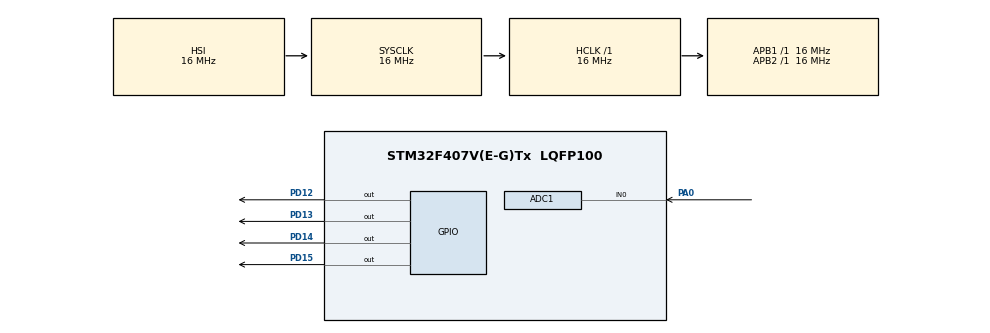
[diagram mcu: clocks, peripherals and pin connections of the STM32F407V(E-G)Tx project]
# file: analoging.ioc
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ADC1.Channel-1\#ChannelRegularConversion=ADC_CHANNEL_0
ADC1.NbrOfConversionFlag=1
ADC1.Rank-1\#ChannelRegularConversion=1
ADC1.SamplingTime-1\#ChannelRegularConversion=ADC_SAMPLETIME_3CYCLES
ADC1.master=1
Mcu.Family=STM32F4
Mcu.Name=STM32F407V(E-G)Tx
Mcu.Package=LQFP100
NVIC.PriorityGroup=NVIC_PRIORITYGROUP_4
PA0-WKUP.Signal=ADCx_IN0
PD12.Signal=GPIO_Output
PD13.Signal=GPIO_Output
PD14.Signal=GPIO_Output
PD15.Signal=GPIO_Output
ProjectManager.HeapSize=0x200
ProjectManager.StackSize=0x400
ProjectManager.TargetToolchain=STM32CubeIDE
RCC.AHBFreq_Value=16000000
RCC.APB1Freq_Value=16000000
RCC.APB2Freq_Value=16000000
RCC.CortexFreq_Value=16000000
RCC.HSE_VALUE=25000000
RCC.HSI_VALUE=16000000
RCC.LSE_VALUE=32768
RCC.SYSCLKFreq_VALUE=16000000
RCC.VCOOutputFreq_Value=192000000
SH.ADCx_IN0.0=ADC1_IN0,IN0
board=custom

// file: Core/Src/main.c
/* USER CODE BEGIN Header */
/**
  ******************************************************************************
  * @file           : main.c
  * @brief          : Main program body
  ******************************************************************************
  * @attention
  *
  * Copyright (c) 2023 STMicroelectronics.
  * All rights reserved.
  *
  * This software is licensed under terms that can be found in the LICENSE file
  * in the root directory of this software component.
  * If no LICENSE file comes with this software, it is provided AS-IS.
  *
  ******************************************************************************
  */
/* USER CODE END Header */
#include "main.h"

ADC_HandleTypeDef hadc1;

void SystemClock_Config(void);
static void MX_GPIO_Init(void);
static void MX_ADC1_Init(void);

int main(void)
{

  /* MCU Configuration--------------------------------------------------------*/

  /* Reset of all peripherals, Initializes the Flash interface and the Systick. */
  HAL_Init();

  /* Configure the system clock */
  SystemClock_Config();

  /* Initialize all configured peripherals */
  MX_GPIO_Init();
  MX_ADC1_Init();
  /* USER CODE BEGIN 2 */
	unsigned int adcValue = 0;

  /* USER CODE END 2 */

  /* Infinite loop */
  /* USER CODE BEGIN WHILE */
  while (1)
  {
  HAL_ADC_Start(&hadc1);
	  if (HAL_ADC_PollForConversion(&hadc1, 10) == HAL_OK){
	  adcValue = HAL_ADC_GetValue(&hadc1);
	  }
	  else{
		  continue;
	  }
	  	if (adcValue < 512) {
	  		HAL_GPIO_WritePin(GPIOD, GPIO_PIN_12, GPIO_PIN_SET);
	  	} else{
	  		HAL_GPIO_WritePin(GPIOD, GPIO_PIN_12, GPIO_PIN_RESET);
	  	}

	  	if (512 < adcValue && adcValue < 1536){
	  		HAL_GPIO_WritePin(GPIOD, GPIO_PIN_13, GPIO_PIN_SET);
	  	} else{
	  		HAL_GPIO_WritePin(GPIOD, GPIO_PIN_13, GPIO_PIN_RESET);
	  	}

	  	if (1536 < adcValue && adcValue < 3072){
	  			HAL_GPIO_WritePin(GPIOD, GPIO_PIN_14, GPIO_PIN_SET);
	  		} else{
	  			HAL_GPIO_WritePin(GPIOD, GPIO_PIN_14, GPIO_PIN_RESET);
	  		}
	  	if (3072 < adcValue){
	  				HAL_GPIO_WritePin(GPIOD, GPIO_PIN_15, GPIO_PIN_SET);
	  			} else{
	  				HAL_GPIO_WritePin(GPIOD, GPIO_PIN_15, GPIO_PIN_RESET);
	  			}
    /* USER CODE END WHILE */

  }
}

void SystemClock_Config(void)
{
  RCC_OscInitTypeDef RCC_OscInitStruct = {0};
  RCC_ClkInitTypeDef RCC_ClkInitStruct = {0};

  /** Configure the main internal regulator output voltage
  */
  __HAL_RCC_PWR_CLK_ENABLE();
  __HAL_PWR_VOLTAGESCALING_CONFIG(PWR_REGULATOR_VOLTAGE_SCALE1);

  /** Initializes the RCC Oscillators according to the specified parameters
  * in the RCC_OscInitTypeDef structure.
  */
  RCC_OscInitStruct.OscillatorType = RCC_OSCILLATORTYPE_HSI;
  RCC_OscInitStruct.HSIState = RCC_HSI_ON;
  RCC_OscInitStruct.HSICalibrationValue = RCC_HSICALIBRATION_DEFAULT;
  RCC_OscInitStruct.PLL.PLLState = RCC_PLL_NONE;
  if (HAL_RCC_OscConfig(&RCC_OscInitStruct) != HAL_OK)
  {
    Error_Handler();
  }

  /** Initializes the CPU, AHB and APB buses clocks
  */
  RCC_ClkInitStruct.ClockType = RCC_CLOCKTYPE_HCLK|RCC_CLOCKTYPE_SYSCLK
                              |RCC_CLOCKTYPE_PCLK1|RCC_CLOCKTYPE_PCLK2;
  RCC_ClkInitStruct.SYSCLKSource = RCC_SYSCLKSOURCE_HSI;
  RCC_ClkInitStruct.AHBCLKDivider = RCC_SYSCLK_DIV1;
  RCC_ClkInitStruct.APB1CLKDivider = RCC_HCLK_DIV1;
  RCC_ClkInitStruct.APB2CLKDivider = RCC_HCLK_DIV1;

  if (HAL_RCC_ClockConfig(&RCC_ClkInitStruct, FLASH_LATENCY_0) != HAL_OK)
  {
    Error_Handler();
  }
}

static void MX_ADC1_Init(void)
{

  ADC_ChannelConfTypeDef sConfig = {0};

  /** Configure the global features of the ADC (Clock, Resolution, Data Alignment and number of conversion)
  */
  hadc1.Instance = ADC1;
  hadc1.Init.ClockPrescaler = ADC_CLOCK_SYNC_PCLK_DIV2;
  hadc1.Init.Resolution = ADC_RESOLUTION_12B;
  hadc1.Init.ScanConvMode = DISABLE;
  hadc1.Init.ContinuousConvMode = DISABLE;
  hadc1.Init.DiscontinuousConvMode = DISABLE;
  hadc1.Init.ExternalTrigConvEdge = ADC_EXTERNALTRIGCONVEDGE_NONE;
  hadc1.Init.ExternalTrigConv = ADC_SOFTWARE_START;
  hadc1.Init.DataAlign = ADC_DATAALIGN_RIGHT;
  hadc1.Init.NbrOfConversion = 1;
  hadc1.Init.DMAContinuousRequests = DISABLE;
  hadc1.Init.EOCSelection = ADC_EOC_SINGLE_CONV;
  if (HAL_ADC_Init(&hadc1) != HAL_OK)
  {
    Error_Handler();
  }

  /** Configure for the selected ADC regular channel its corresponding rank in the sequencer and its sample time.
  */
  sConfig.Channel = ADC_CHANNEL_0;
  sConfig.Rank = 1;
  sConfig.SamplingTime = ADC_SAMPLETIME_3CYCLES;
  if (HAL_ADC_ConfigChannel(&hadc1, &sConfig) != HAL_OK)
  {
    Error_Handler();
  }

}

static void MX_GPIO_Init(void)
{
  GPIO_InitTypeDef GPIO_InitStruct = {0};

  /* GPIO Ports Clock Enable */
  __HAL_RCC_GPIOA_CLK_ENABLE();
  __HAL_RCC_GPIOD_CLK_ENABLE();

  /*Configure GPIO pin Output Level */
  HAL_GPIO_WritePin(GPIOD, GPIO_PIN_12|GPIO_PIN_13|GPIO_PIN_14|GPIO_PIN_15, GPIO_PIN_RESET);

  /*Configure GPIO pins : PD12 PD13 PD14 PD15 */
  GPIO_InitStruct.Pin = GPIO_PIN_12|GPIO_PIN_13|GPIO_PIN_14|GPIO_PIN_15;
  GPIO_InitStruct.Mode = GPIO_MODE_OUTPUT_PP;
  GPIO_InitStruct.Pull = GPIO_NOPULL;
  GPIO_InitStruct.Speed = GPIO_SPEED_FREQ_LOW;
  HAL_GPIO_Init(GPIOD, &GPIO_InitStruct);

}

void Error_Handler(void)
{
  __disable_irq();
  while (1)
  {
  }
}
